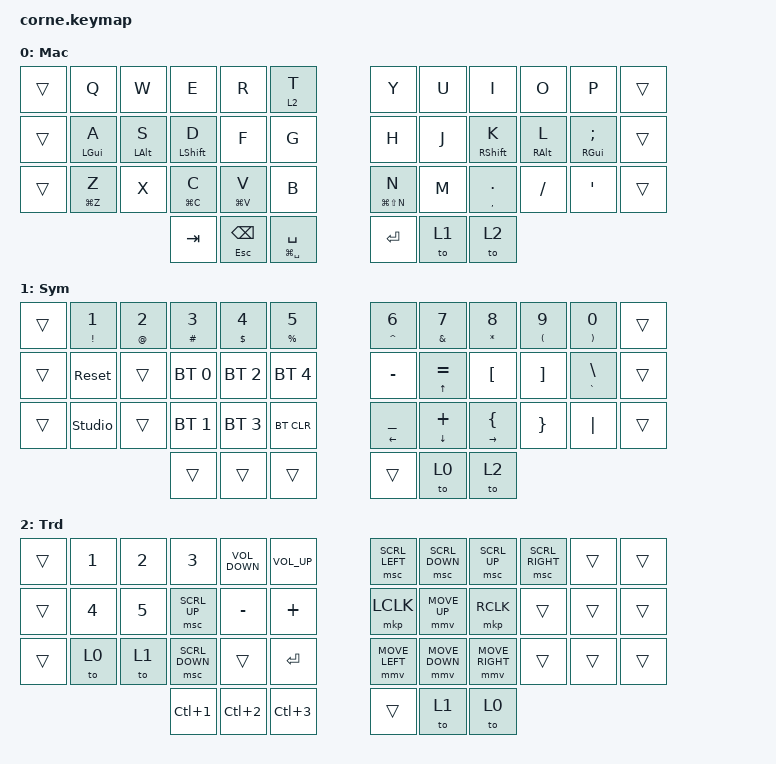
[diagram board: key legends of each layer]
/*
 * Copyright (c) 2020 The ZMK Contributors
 *
 * SPDX-License-Identifier: MIT
 */

#include <behaviors.dtsi>
#include <dt-bindings/zmk/bt.h>
#include <dt-bindings/zmk/keys.h>
#include <dt-bindings/zmk/pointing.h>

/ {
    behaviors {
        Shortcut: Shortcut {
            compatible = "zmk,behavior-hold-tap";
            label = "SHORTCUT";
            bindings = <&to>, <&kp>;

            #binding-cells = <2>;
            tapping-term-ms = <300>;
            flavor = "tap-preferred";
        };

        longPress: longPress {
            compatible = "zmk,behavior-hold-tap";
            label = "LONGPRESS";
            bindings = <&kp>, <&kp>;

            #binding-cells = <2>;
            tapping-term-ms = <300>;
        };
    };

    keymap {
        compatible = "zmk,keymap";

        Mac {
            // -----------------------------------------------------------------------------------------
            // |  TAB |  1  |  2  |  3  |  4  |  5  |   |  6  |  7  |  8  |  9  |  0  | BSPC |
            // | BTCLR| BT1 | BT2 | BT3 | BT4 | BT5 |   | LFT | DWN |  UP | RGT |     |      |
            // | SHFT |     |     |     |     |     |   |     |     |     |     |     |      |
            //                    | GUI |     | SPC |   | ENT |     | ALT |

            display-name = "Mac";
            bindings = <
&trans  &kp Q                  &kp W                  &kp E                    &kp R                        &Shortcut 2 T                 &kp Y                   &kp U  &kp I                     &kp O                   &kp P                           &trans
&trans  &longPress LEFT_GUI A  &longPress LEFT_ALT S  &longPress LEFT_SHIFT D  &kp F                        &kp G                         &kp H                   &kp J  &longPress RIGHT_SHIFT K  &longPress RIGHT_ALT L  &longPress RIGHT_GUI SEMICOLON  &trans
&trans  &longPress LG(Z) Z     &kp X                  &longPress LG(C) C       &longPress LG(V) V           &kp B                         &longPress LG(LS(N)) N  &kp M  &longPress COMMA DOT      &kp SLASH               &kp SQT                         &trans
                                                      &kp TAB                  &longPress ESCAPE BACKSPACE  &longPress LG(SPACE) SPACE    &kp RET                 &to 1  &to 2
            >;
        };

        Sym {
            // -----------------------------------------------------------------------------------------
            // |  TAB |  !  |  @  |  #  |  $  |  %  |   |  ^  |  &  |  *  |  (  |  )  | BSPC |
            // | CTRL |     |     |     |     |     |   |  -  |  =  |  [  |  ]  |  \  |  `   |
            // | SHFT |     |     |     |     |     |   |  _  |  +  |  {  |  }  | "|" |  ~   |
            //                    | GUI |     | SPC |   | ENT |     | ALT |

            display-name = "Sym";
            bindings = <
&trans  &longPress EXCL NUMBER_1  &longPress AT NUMBER_2  &longPress HASH NUMBER_3  &longPress DLLR NUMBER_4  &longPress PRCNT NUMBER_5    &longPress CARET NUMBER_6    &longPress AMPS N7          &longPress ASTRK N8          &longPress LPAR N9  &longPress RPAR N0     &trans
&trans  &sys_reset                &trans                  &bt BT_SEL 0              &bt BT_SEL 2              &bt BT_SEL 4                 &kp MINUS                    &longPress UP_ARROW EQUAL   &kp LBKT                     &kp RBKT            &longPress GRAVE BSLH  &trans
&trans  &studio_unlock            &trans                  &bt BT_SEL 1              &bt BT_SEL 3              &bt BT_CLR                   &longPress LEFT_ARROW UNDER  &longPress DOWN_ARROW PLUS  &longPress RIGHT_ARROW LBRC  &kp RBRC            &kp PIPE               &trans
                                                          &trans                    &trans                    &trans                       &trans                       &to 0                       &to 2
            >;
        };

        Trd {
            // -----------------------------------------------------------------------------------------
            // |      | LCLK| RCLK| MCLK|     |     |   |     |     |     |     |     |      |
            // |      |     | M_UP|     |     |     |   |     | S_UP|     |     |     |      |
            // |      | M_LT| M_DN| M_RT|     |     |   | S_LT| S_DN| S_RT|     |     |      |
            //                    |     |     |     |   |     |     |     |

            display-name = "Trd";
            bindings = <
&trans  &kp NUMBER_1  &kp NUMBER_2  &kp NUMBER_3      &kp C_VOLUME_DOWN  &kp C_VOLUME_UP     &msc SCRL_LEFT  &msc SCRL_DOWN  &msc SCRL_UP     &msc SCRL_RIGHT  &trans  &trans
&trans  &kp NUMBER_4  &kp N5        &msc SCRL_UP      &kp MINUS          &kp PLUS            &mkp LCLK       &mmv MOVE_UP    &mkp RCLK        &trans           &trans  &trans
&trans  &to 0         &to 1         &msc SCRL_DOWN    &trans             &kp ENTER           &mmv MOVE_LEFT  &mmv MOVE_DOWN  &mmv MOVE_RIGHT  &trans           &trans  &trans
                                    &kp LC(NUMBER_1)  &kp LC(NUMBER_2)   &kp LC(NUMBER_3)    &trans          &to 1           &to 0
            >;
        };
    };
};
